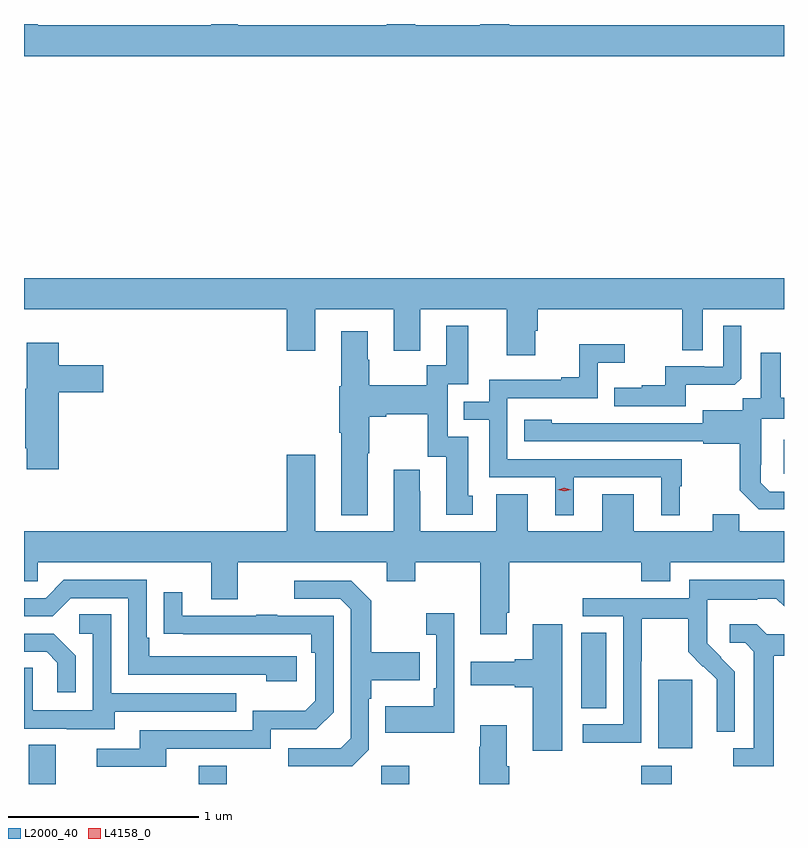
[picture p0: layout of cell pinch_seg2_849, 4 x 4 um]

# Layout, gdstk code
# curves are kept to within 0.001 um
import gdstk
lib = gdstk.Library(unit=1e-6, precision=1e-09)
def R(c, l, rs):  # rectangles x0, y0, x1, y1
    for r in rs: c.add(gdstk.rectangle(r[:2], r[2:], *l))
def P(c, l, *ps):  # polygons
    for p in ps: c.add(gdstk.Polygon(p, *l))
L2000_40 = (2000, 40)
L4158_0 = (4158, 0)

pinch_seg2_849 = lib.new_cell('pinch_seg2_849')
R(pinch_seg2_849, L2000_40, [(600.905,595.854,601.045,596.06), (601.799,595.854,601.947,595.951), (602.76,595.854,602.907,595.951), (604.127,595.854,604.287,595.951), (604.217,596.042,604.396,596.403), (603.812,596.254,603.943,596.651), (604.877,597.486,604.879,597.667)])
P(pinch_seg2_849, L2000_40, [(604.879,599.848),(603.434,599.848),(603.434,599.854),(603.281,599.854),(603.281,599.848),(602.937,599.848),(602.937,599.854),(602.789,599.854),(602.789,599.848),(602.005,599.848),(602.005,599.854),(601.865,599.854),(601.865,599.848),(600.951,599.848),(600.951,599.854),(600.879,599.854),(600.879,599.684),(604.879,599.684)],
  [(603.571,598.239),(603.584,598.239),(603.584,598.352),(604.344,598.352),(604.344,598.138),(604.452,598.138),(604.452,598.352),(604.879,598.352),(604.879,598.516),(600.879,598.516),(600.879,598.352),(602.261,598.352),(602.261,598.134),(602.413,598.134),(602.413,598.352),(602.825,598.352),(602.825,598.134),(602.965,598.134),(602.965,598.352),(603.419,598.352),(603.419,598.11),(603.571,598.11)],
  [(602.689,597.595),(602.697,597.595),(602.697,597.788),(602.785,597.788),(602.785,597.8),(603.005,597.8),(603.005,597.576),(603.101,597.576),(603.101,597.27),(603.241,597.27),(603.241,597.372),(603.217,597.372),(603.217,597.681),(603.108,597.681),(603.108,597.957),(603.217,597.957),(603.217,598.267),(603.101,598.267),(603.101,598.058),(603,598.058),(603,597.952),(602.697,597.952),(602.697,598.086),(602.689,598.086),(602.689,598.237),(602.549,598.237),(602.549,597.948),(602.537,597.948),(602.537,597.704),(602.549,597.704),(602.549,597.269),(602.689,597.269)],
  [(604.363,597.956),(604.621,597.956),(604.653,597.987),(604.653,598.267),(604.56,598.267),(604.56,598.05),(604.46,598.05),(604.46,598.053),(604.253,598.053),(604.253,597.952),(604.129,597.952),(604.129,597.94),(603.985,597.94),(603.985,597.843),(604.363,597.843)],
  [(601.061,597.917),(601.297,597.917),(601.297,598.059),(601.061,598.059),(601.061,598.177),(600.893,598.177),(600.893,597.933),(600.886,597.933),(600.886,597.622),(600.893,597.622),(600.893,597.51),(601.061,597.51)],
  [(603.772,597.468),(604.232,597.468),(604.232,597.269),(604.33,597.269),(604.33,597.42),(604.342,597.42),(604.342,597.564),(603.423,597.564),(603.423,597.885),(603.9,597.885),(603.9,598.07),(604.042,598.07),(604.042,598.169),(603.802,598.169),(603.802,597.994),(603.707,597.994),(603.707,597.981),(603.327,597.981),(603.327,597.867),(603.193,597.867),(603.193,597.771),(603.327,597.771),(603.327,597.468),(603.674,597.468),(603.674,597.269),(603.772,597.269)],
  [(604.879,597.393),(604.803,597.393),(604.756,597.44),(604.756,597.535),(604.758,597.535),(604.758,597.776),(604.879,597.776),(604.879,597.886),(604.861,597.886),(604.861,598.123),(604.757,598.123),(604.757,597.884),(604.662,597.884),(604.662,597.82),(604.451,597.82),(604.451,597.753),(603.657,597.754),(603.657,597.772),(603.513,597.772),(603.513,597.657),(604.455,597.657),(604.455,597.645),(604.647,597.645),(604.647,597.399),(604.747,597.299),(604.879,597.299)],
  [(602.413,597.586),(602.261,597.586),(602.261,597.184),(600.879,597.184),(600.879,596.922),(600.951,596.922),(600.951,597.02),(601.865,597.02),(601.865,596.826),(602.005,596.826),(602.005,597.02),(602.789,597.02),(602.789,596.921),(602.937,596.921),(602.937,597.02),(603.281,597.02),(603.281,596.643),(603.421,596.643),(603.421,596.755),(603.434,596.755),(603.434,597.02),(604.127,597.02),(604.127,596.921),(604.279,596.921),(604.279,597.02),(604.879,597.02),(604.879,597.184),(604.643,597.184),(604.643,597.275),(604.505,597.275),(604.505,597.184),(604.087,597.184),(604.087,597.379),(603.923,597.379),(603.923,597.184),(603.529,597.184),(603.529,597.379),(603.365,597.379),(603.365,597.184),(602.965,597.184),(602.965,597.395),(602.962,597.395),(602.962,597.508),(602.825,597.508),(602.825,597.184),(602.413,597.184)],
  [(604.128,596.5),(604.131,596.5),(604.131,596.724),(604.375,596.724),(604.375,596.549),(604.452,596.472),(604.455,596.475),(604.526,596.405),(604.526,596.282),(604.524,596.282),(604.524,596.128),(604.62,596.128),(604.62,596.446),(604.474,596.594),(604.474,596.691),(604.476,596.691),(604.476,596.825),(604.739,596.825),(604.739,596.829),(604.839,596.829),(604.879,596.789),(604.879,596.927),(604.877,596.929),(604.38,596.929),(604.38,596.832),(603.819,596.832),(603.819,596.736),(604.032,596.736),(604.032,596.169),(603.819,596.169),(603.819,596.071),(604.128,596.071)],
  [(602.314,596.526),(601.537,596.526),(601.537,596.623),(601.524,596.623),(601.524,596.928),(601.089,596.928),(600.993,596.832),(600.879,596.832),(600.879,596.736),(601.029,596.736),(601.125,596.832),(601.428,596.832),(601.428,596.43),(602.153,596.43),(602.153,596.396),(602.314,596.396)],
  [(602.694,596.034),(602.694,596.303),(602.707,596.303),(602.707,596.399),(602.963,596.399),(602.963,596.547),(602.707,596.547),(602.707,596.819),(602.601,596.925),(602.301,596.925),(602.301,596.829),(602.544,596.829),(602.598,596.775),(602.598,596.094),(602.547,596.043),(602.271,596.043),(602.271,595.947),(602.607,595.947)],
  [(601.627,596.04),(602.178,596.04),(602.178,596.142),(602.418,596.142),(602.508,596.232),(602.508,596.739),(602.213,596.739),(602.213,596.744),(602.101,596.744),(602.101,596.739),(601.711,596.739),(601.711,596.863),(601.615,596.863),(601.615,596.644),(602.392,596.643),(602.392,596.546),(602.412,596.546),(602.412,596.292),(602.359,596.239),(602.082,596.239),(602.082,596.136),(601.487,596.136),(601.487,596.04),(601.263,596.04),(601.263,595.944),(601.627,595.944)],
  [(603.144,596.752),(602.997,596.752),(602.997,596.639),(603.048,596.639),(603.048,596.359),(603.036,596.359),(603.036,596.263),(602.779,596.263),(602.779,596.123),(603.144,596.123)],
  [(601.357,596.235),(601.997,596.235),(601.997,596.331),(601.338,596.331),(601.338,596.747),(601.17,596.747),(601.17,596.646),(601.242,596.646),(601.242,596.241),(600.924,596.241),(600.924,596.465),(600.879,596.465),(600.879,596.145),(601.103,596.145),(601.103,596.141),(601.357,596.141)],
  [(604.825,596.528),(604.879,596.528),(604.879,596.643),(604.788,596.643),(604.736,596.695),(604.593,596.695),(604.593,596.598),(604.674,596.598),(604.721,596.551),(604.721,596.043),(604.611,596.043),(604.611,595.947),(604.825,595.947)],
  [(603.712,596.695),(603.557,596.695),(603.557,596.51),(603.461,596.51),(603.461,596.497),(603.231,596.497),(603.231,596.375),(603.461,596.375),(603.461,596.363),(603.557,596.363),(603.557,596.028),(603.712,596.028)],
  [(601.152,596.53),(601.036,596.646),(600.879,596.646),(600.879,596.55),(600.998,596.55),(601.055,596.493),(601.055,596.337),(601.152,596.337)],
  [(603.434,595.948),(603.421,595.948),(603.421,596.164),(603.281,596.164),(603.281,596.051),(603.274,596.051),(603.274,595.854),(603.434,595.854)])
P(pinch_seg2_849, L4158_0, [(603.723,597.394),(603.687,597.404),(603.687,597.404),(603.687,597.404),(603.723,597.414),(603.759,597.404),(603.759,597.404),(603.759,597.404)])

lib.write_gds('pinch_seg2_849.gds')
